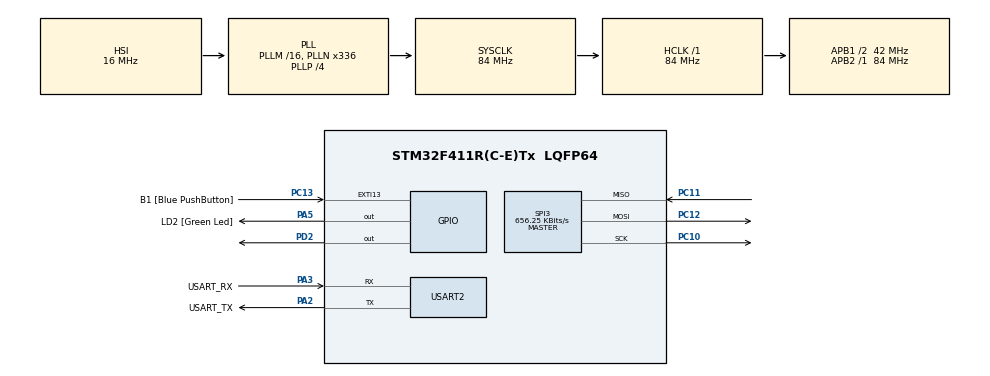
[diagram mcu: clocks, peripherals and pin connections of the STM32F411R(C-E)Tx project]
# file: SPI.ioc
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Mcu.Family=STM32F4
Mcu.Name=STM32F411R(C-E)Tx
Mcu.Package=LQFP64
NVIC.PriorityGroup=NVIC_PRIORITYGROUP_0
NVIC.SPI3_IRQn=true\:0\:0\:false\:false\:true\:true\:true\:true
PA13.GPIO_Label=TMS
PA13.Mode=Serial_Wire
PA13.Signal=SYS_JTMS-SWDIO
PA14.GPIO_Label=TCK
PA14.Mode=Serial_Wire
PA14.Signal=SYS_JTCK-SWCLK
PA2.GPIO_Label=USART_TX
PA2.Mode=Asynchronous
PA2.Signal=USART2_TX
PA3.GPIO_Label=USART_RX
PA3.Mode=Asynchronous
PA3.Signal=USART2_RX
PA5.GPIO_Label=LD2 [Green Led]
PA5.Signal=GPIO_Output
PB3.GPIO_Label=SWO
PB3.Signal=SYS_JTDO-SWO
PC10.Mode=Full_Duplex_Master
PC10.Signal=SPI3_SCK
PC11.Mode=Full_Duplex_Master
PC11.Signal=SPI3_MISO
PC12.Mode=Full_Duplex_Master
PC12.Signal=SPI3_MOSI
PC13-ANTI_TAMP.GPIO_Label=B1 [Blue PushButton]
PC13-ANTI_TAMP.GPIO_ModeDefaultEXTI=GPIO_MODE_IT_FALLING
PC13-ANTI_TAMP.Signal=GPXTI13
PC14-OSC32_IN.Mode=LSE-External-Oscillator
PC14-OSC32_IN.Signal=RCC_OSC32_IN
PC15-OSC32_OUT.Mode=LSE-External-Oscillator
PC15-OSC32_OUT.Signal=RCC_OSC32_OUT
PD2.PinState=GPIO_PIN_SET
PD2.Signal=GPIO_Output
PH0\ -\ OSC_IN.Mode=HSE-External-Clock-Source
PH0\ -\ OSC_IN.Signal=RCC_OSC_IN
PH1\ -\ OSC_OUT.Mode=HSE-External-Clock-Source
PH1\ -\ OSC_OUT.Signal=RCC_OSC_OUT
ProjectManager.HeapSize=0x200
ProjectManager.StackSize=0x400
ProjectManager.TargetToolchain=STM32CubeIDE
RCC.48MHZClocksFreq_Value=84000000
RCC.AHBFreq_Value=84000000
RCC.APB1CLKDivider=RCC_HCLK_DIV2
RCC.APB1Freq_Value=42000000
RCC.APB1TimFreq_Value=84000000
RCC.APB2Freq_Value=84000000
RCC.APB2TimFreq_Value=84000000
RCC.CortexFreq_Value=84000000
RCC.FLatency-AdvancedSettings=FLASH_LATENCY_2
RCC.HCLKFreq_Value=84000000
RCC.HSE_VALUE=8000000
RCC.HSI_VALUE=16000000
RCC.PLLN=336
RCC.PLLP=RCC_PLLP_DIV4
RCC.SYSCLKFreq_VALUE=84000000
RCC.SYSCLKSource=RCC_SYSCLKSOURCE_PLLCLK
RCC.VCOOutputFreq_Value=336000000
SPI3.BaudRatePrescaler=SPI_BAUDRATEPRESCALER_64
SPI3.CLKPhase=SPI_PHASE_2EDGE
SPI3.CLKPolarity=SPI_POLARITY_HIGH
SPI3.CalculateBaudRate=656.25 KBits/s
SPI3.Direction=SPI_DIRECTION_2LINES
SPI3.Mode=SPI_MODE_MASTER
SPI3.VirtualType=VM_MASTER
USART2.VirtualMode=VM_ASYNC
board=NUCLEO-F411RE

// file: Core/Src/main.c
/* USER CODE BEGIN Header */
/**
  ******************************************************************************
  * @file           : main.c
  * @brief          : Main program body
  ******************************************************************************
  * @attention
  *
  * Copyright (c) 2023 STMicroelectronics.
  * All rights reserved.
  *
  * This software is licensed under terms that can be found in the LICENSE file
  * in the root directory of this software component.
  * If no LICENSE file comes with this software, it is provided AS-IS.
  *
  ******************************************************************************
  */
/* USER CODE END Header */
#include "main.h"

SPI_HandleTypeDef hspi3;

UART_HandleTypeDef huart2;

/* USER CODE BEGIN PV */
uint8_t SPIRx[10];
uint8_t SPITx[10];
/* USER CODE END PV */

void SystemClock_Config(void);
static void MX_GPIO_Init(void);
static void MX_USART2_UART_Init(void);
static void MX_SPI3_Init(void);
/* USER CODE BEGIN PFP */
void SPITxRx_Setup();
void SPITxRx_readIO();
/* USER CODE END PFP */

int main(void)
{

  /* MCU Configuration--------------------------------------------------------*/

  /* Reset of all peripherals, Initializes the Flash interface and the Systick. */
  HAL_Init();

  /* Configure the system clock */
  SystemClock_Config();

  /* Initialize all configured peripherals */
  MX_GPIO_Init();
  MX_USART2_UART_Init();
  MX_SPI3_Init();
  /* USER CODE BEGIN 2 */
  SPITxRx_Setup();
  /* USER CODE END 2 */

  /* Infinite loop */
  while (1)
  {

    /* USER CODE BEGIN 3 */
	  SPITxRx_readIO();
  }
  /* USER CODE END 3 */
}

void SystemClock_Config(void)
{
  RCC_OscInitTypeDef RCC_OscInitStruct = {0};
  RCC_ClkInitTypeDef RCC_ClkInitStruct = {0};

  /** Configure the main internal regulator output voltage
  */
  __HAL_RCC_PWR_CLK_ENABLE();
  __HAL_PWR_VOLTAGESCALING_CONFIG(PWR_REGULATOR_VOLTAGE_SCALE1);

  /** Initializes the RCC Oscillators according to the specified parameters
  * in the RCC_OscInitTypeDef structure.
  */
  RCC_OscInitStruct.OscillatorType = RCC_OSCILLATORTYPE_HSI;
  RCC_OscInitStruct.HSIState = RCC_HSI_ON;
  RCC_OscInitStruct.HSICalibrationValue = RCC_HSICALIBRATION_DEFAULT;
  RCC_OscInitStruct.PLL.PLLState = RCC_PLL_ON;
  RCC_OscInitStruct.PLL.PLLSource = RCC_PLLSOURCE_HSI;
  RCC_OscInitStruct.PLL.PLLM = 16;
  RCC_OscInitStruct.PLL.PLLN = 336;
  RCC_OscInitStruct.PLL.PLLP = RCC_PLLP_DIV4;
  RCC_OscInitStruct.PLL.PLLQ = 4;
  if (HAL_RCC_OscConfig(&RCC_OscInitStruct) != HAL_OK)
  {
    Error_Handler();
  }

  /** Initializes the CPU, AHB and APB buses clocks
  */
  RCC_ClkInitStruct.ClockType = RCC_CLOCKTYPE_HCLK|RCC_CLOCKTYPE_SYSCLK
                              |RCC_CLOCKTYPE_PCLK1|RCC_CLOCKTYPE_PCLK2;
  RCC_ClkInitStruct.SYSCLKSource = RCC_SYSCLKSOURCE_PLLCLK;
  RCC_ClkInitStruct.AHBCLKDivider = RCC_SYSCLK_DIV1;
  RCC_ClkInitStruct.APB1CLKDivider = RCC_HCLK_DIV2;
  RCC_ClkInitStruct.APB2CLKDivider = RCC_HCLK_DIV1;

  if (HAL_RCC_ClockConfig(&RCC_ClkInitStruct, FLASH_LATENCY_2) != HAL_OK)
  {
    Error_Handler();
  }
}

static void MX_SPI3_Init(void)
{

  /* SPI3 parameter configuration*/
  hspi3.Instance = SPI3;
  hspi3.Init.Mode = SPI_MODE_MASTER;
  hspi3.Init.Direction = SPI_DIRECTION_2LINES;
  hspi3.Init.DataSize = SPI_DATASIZE_8BIT;
  hspi3.Init.CLKPolarity = SPI_POLARITY_HIGH;
  hspi3.Init.CLKPhase = SPI_PHASE_2EDGE;
  hspi3.Init.NSS = SPI_NSS_SOFT;
  hspi3.Init.BaudRatePrescaler = SPI_BAUDRATEPRESCALER_64;
  hspi3.Init.FirstBit = SPI_FIRSTBIT_MSB;
  hspi3.Init.TIMode = SPI_TIMODE_DISABLE;
  hspi3.Init.CRCCalculation = SPI_CRCCALCULATION_DISABLE;
  hspi3.Init.CRCPolynomial = 10;
  if (HAL_SPI_Init(&hspi3) != HAL_OK)
  {
    Error_Handler();
  }

}

static void MX_USART2_UART_Init(void)
{

  huart2.Instance = USART2;
  huart2.Init.BaudRate = 115200;
  huart2.Init.WordLength = UART_WORDLENGTH_8B;
  huart2.Init.StopBits = UART_STOPBITS_1;
  huart2.Init.Parity = UART_PARITY_NONE;
  huart2.Init.Mode = UART_MODE_TX_RX;
  huart2.Init.HwFlowCtl = UART_HWCONTROL_NONE;
  huart2.Init.OverSampling = UART_OVERSAMPLING_16;
  if (HAL_UART_Init(&huart2) != HAL_OK)
  {
    Error_Handler();
  }

}

static void MX_GPIO_Init(void)
{
  GPIO_InitTypeDef GPIO_InitStruct = {0};

  /* GPIO Ports Clock Enable */
  __HAL_RCC_GPIOC_CLK_ENABLE();
  __HAL_RCC_GPIOH_CLK_ENABLE();
  __HAL_RCC_GPIOA_CLK_ENABLE();
  __HAL_RCC_GPIOD_CLK_ENABLE();
  __HAL_RCC_GPIOB_CLK_ENABLE();

  /*Configure GPIO pin Output Level */
  HAL_GPIO_WritePin(LD2_GPIO_Port, LD2_Pin, GPIO_PIN_RESET);

  /*Configure GPIO pin Output Level */
  HAL_GPIO_WritePin(GPIOD, GPIO_PIN_2, GPIO_PIN_SET);

  /*Configure GPIO pin : B1_Pin */
  GPIO_InitStruct.Pin = B1_Pin;
  GPIO_InitStruct.Mode = GPIO_MODE_IT_FALLING;
  GPIO_InitStruct.Pull = GPIO_NOPULL;
  HAL_GPIO_Init(B1_GPIO_Port, &GPIO_InitStruct);

  /*Configure GPIO pin : LD2_Pin */
  GPIO_InitStruct.Pin = LD2_Pin;
  GPIO_InitStruct.Mode = GPIO_MODE_OUTPUT_PP;
  GPIO_InitStruct.Pull = GPIO_NOPULL;
  GPIO_InitStruct.Speed = GPIO_SPEED_FREQ_LOW;
  HAL_GPIO_Init(LD2_GPIO_Port, &GPIO_InitStruct);

  /*Configure GPIO pin : PD2 */
  GPIO_InitStruct.Pin = GPIO_PIN_2;
  GPIO_InitStruct.Mode = GPIO_MODE_OUTPUT_PP;
  GPIO_InitStruct.Pull = GPIO_NOPULL;
  GPIO_InitStruct.Speed = GPIO_SPEED_FREQ_LOW;
  HAL_GPIO_Init(GPIOD, &GPIO_InitStruct);

}

/* USER CODE BEGIN 4 */
void SPITxRx_Setup()
{
	HAL_GPIO_WritePin(GPIOD, GPIO_PIN_2, 0);
	HAL_Delay(1);
	HAL_GPIO_WritePin(GPIOD, GPIO_PIN_2, 1);
	HAL_Delay(1);
}
void SPITxRx_readIO()
{
	if(HAL_GPIO_ReadPin(GPIOD, GPIO_PIN_2))
	{
		HAL_GPIO_WritePin(GPIOD, GPIO_PIN_2, 0);
		SPITx[0] = 0b01000001;
		SPITx[1] = 0x12;
		SPITx[2] = 0;
		SPITx[3] = 0;
		HAL_SPI_TransmitReceive_IT(&hspi3, SPITx, SPIRx, 4);
	}
}

void HAL_SPI_TxRxCpltCallback(SPI_HandleTypeDef *hspi)
{
	HAL_GPIO_WritePin(GPIOD, GPIO_PIN_2, 1);
}
/* USER CODE END 4 */

void Error_Handler(void)
{
  __disable_irq();
  while (1)
  {
  }
}
